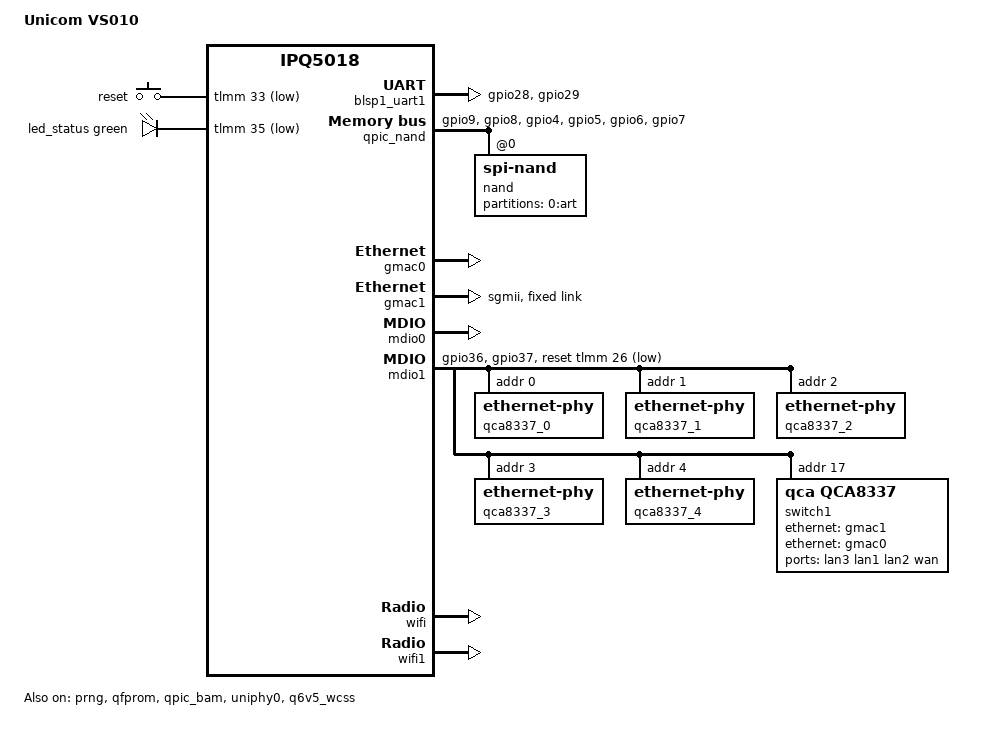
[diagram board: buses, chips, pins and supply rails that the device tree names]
// SPDX-License-Identifier: GPL-2.0-or-later OR MIT
/*
 * VS010 (Unicom) Device Tree Source
 * Rewritten for OpenWrt linux-6.18 (dwmac + qca8337 DSA model)
 * Based on cmcc_pz-l8 / ipq5018-pz-l8.dts reference, hardware-verified vs 实机:
 *   - 5G chip is QCN6122 (not QCN6102)
 *   - ART MAC base D8:3D:CC:94:61 / eth0@0x00, eth1@0x06
 *   - wifi1 bdf-addr 0x4d300000, no m3-dump-addr
 */

/dts-v1/;

#include "ipq5018.dtsi"
#include "ipq5018-ess.dtsi"
#include "ipq5018-qcn6122.dtsi"

#include <dt-bindings/gpio/gpio.h>
#include <dt-bindings/input/input.h>
#include <dt-bindings/leds/common.h>

/ {
	model = "Unicom VS010";
	compatible = "unicom,vs010", "qcom,ipq5018";

	aliases {
		serial0 = &blsp1_uart1;
		led-boot = &led_status;
		led-failsafe = &led_status;
		led-running = &led_status;
		led-upgrade = &led_status;
		label-mac-device = <&gmac0>;
	};

	chosen {
		bootargs-append = " root=/dev/ubiblock0_1 swiotlb=1 coherent_pool=2M";
		stdout-path = "serial0:115200n8";
	};

	keys {
		compatible = "gpio-keys";
		pinctrl-0 = <&button_pins>;
		pinctrl-names = "default";

		reset-button {
			label = "reset";
			gpios = <&tlmm 33 GPIO_ACTIVE_LOW>;
			linux,code = <KEY_RESTART>;
		};
	};

	leds {
		compatible = "gpio-leds";
		pinctrl-0 = <&led_pins>;
		pinctrl-names = "default";

		led_status: led-0 {
			gpios = <&tlmm 35 GPIO_ACTIVE_LOW>;
			color = <LED_COLOR_ID_GREEN>;
			function = LED_FUNCTION_STATUS;
			default-state = "off";
		};
	};
};

&sleep_clk {
	clock-frequency = <32000>;
};

&xo_board_clk {
	clock-div = <4>;
	clock-mult = <1>;
};

&blsp1_uart1 {
	status = "okay";

	pinctrl-0 = <&serial_0_pins>;
	pinctrl-names = "default";
};

&prng {
	status = "okay";
};

&qfprom {
	status = "okay";
};

&qpic_bam {
	status = "okay";
};

&qpic_nand {
	pinctrl-0 = <&qpic_pins>;
	pinctrl-names = "default";
	status = "okay";

	nand@0 {
		compatible = "spi-nand";
		reg = <0>;
		nand-ecc-engine = <&qpic_nand>;
		nand-bus-width = <8>;

		partitions {
			compatible = "qcom,smem-part";

			partition-art {
				label = "0:art";
				read-only;

				nvmem-layout {
					compatible = "fixed-layout";
					#address-cells = <1>;
					#size-cells = <1>;

					// VS010 MAC layout (实测 ART):
					// eth0 (LAN): D8:3D:CC:94:61:8B @ offset 0x00
					// eth1 (WAN): D8:3D:CC:94:61:8A @ offset 0x06
					macaddr_eth0: macaddr@0 {
						reg = <0x0 0x6>;
					};

					macaddr_eth1: macaddr@6 {
						reg = <0x6 0x6>;
					};
				};
			};
		};
	};
};

&uniphy0 {
	status = "okay";

	assigned-clocks = <&uniphy0 UNIPHY_CLK_REF>;
	assigned-clock-rates = <UNIPHY_REFCLK_25MHZ>;
};

// MAC0 -> GE Phy
&gmac0 {
	status = "okay";

	nvmem-cells = <&macaddr_eth0>;
	nvmem-cell-names = "mac-address";
};

// MAC1 -> SGMII
&gmac1 {
	status = "okay";

	phy-mode = "sgmii";

	nvmem-cells = <&macaddr_eth1>;
	nvmem-cell-names = "mac-address";

	fixed-link {
		speed = <1000>;
		full-duplex;
	};
};

&mdio0 {
	status = "okay";
};

// MAC0 -> GE Phy -> QCA8337 Phy4
&ge_phy {
	qcom,dac-preset-short-cable;
};

&mdio1 {
	status = "okay";

	pinctrl-0 = <&mdio1_pins>;
	pinctrl-names = "default";
	reset-gpios = <&tlmm 26 GPIO_ACTIVE_LOW>;

	// QCA8337 Phy0 -> LAN3
	qca8337_0: ethernet-phy@0 {
		reg = <0>;
	};

	// QCA8337 Phy1 -> LAN2
	qca8337_1: ethernet-phy@1 {
		reg = <1>;
	};

	// QCA8337 Phy2 -> LAN1
	qca8337_2: ethernet-phy@2 {
		reg = <2>;
	};

	// QCA8337 Phy3 -> WAN
	qca8337_3: ethernet-phy@3 {
		reg = <3>;
	};

	// QCA8337 Phy4 -> IPQ5018 GE Phy
	qca8337_4: ethernet-phy@4 {
		reg = <4>;
	};

	// QCA8337 switch
	switch1: ethernet-switch@17 {
		compatible = "qca,qca8337";
		reg = <17>;
		#address-cells = <1>;
		#size-cells = <0>;

		ports {
			#address-cells = <1>;
			#size-cells = <0>;

			port@0 {
				reg = <0>;
				phy-mode = "sgmii";
				ethernet = <&gmac1>;
				qca,sgmii-enable-pll;

				fixed-link {
					speed = <1000>;
					full-duplex;
				};
			};

			port@1 {
				reg = <1>;
				label = "lan3";
				phy-handle = <&qca8337_0>;
			};

			port@2 {
				reg = <2>;
				label = "lan1";
				phy-handle = <&qca8337_1>;
			};

			port@3 {
				reg = <3>;
				label = "lan2";
				phy-handle = <&qca8337_2>;
			};

			port@4 {
				reg = <4>;
				label = "wan";
				phy-handle = <&qca8337_3>;
			};

			port@5 {
				reg = <5>;
				phy-handle = <&qca8337_4>;
				phy-mode = "gmii";
				ethernet = <&gmac0>;
			};
		};
	};
};

&tlmm {
	button_pins: button-state {
		button-pins {
			pins = "gpio33";
			function = "gpio";
			drive-strength = <8>;
			bias-pull-up;
		};
	};

	led_pins: led-state {
		pins = "gpio35";
		function = "gpio";
		drive-strength = <8>;
		bias-pull-down;
	};

	mdio1_pins: mdio-state {
		mdc-pins {
			pins = "gpio36";
			function = "mdc";
			drive-strength = <8>;
			bias-pull-up;
		};

		mdio-pins {
			pins = "gpio37";
			function = "mdio";
			drive-strength = <8>;
			bias-pull-up;
		};
	};

	qpic_pins: qpic-state {
		clock-pins {
			pins = "gpio9";
			function = "qspi_clk";
			drive-strength = <8>;
			bias-disable;
		};

		cs-pins {
			pins = "gpio8";
			function = "qspi_cs";
			drive-strength = <8>;
			bias-disable;
		};

		data-pins {
			pins = "gpio4", "gpio5", "gpio6", "gpio7";
			function = "qspi_data";
			drive-strength = <8>;
			bias-disable;
		};
	};

	serial_0_pins: uart0-state {
		pins = "gpio28", "gpio29";
		function = "blsp0_uart1";
		drive-strength = <8>;
		bias-disable;
	};

	switch_reset_pins: switch-reset-state {
		pins = "gpio26";
		function = "gpio";
		drive-strength = <8>;
		bias-pull-down;
	};
};

&q6v5_wcss {
	status = "okay";
};

&wifi {
	// IPQ5018 2.4G
	qcom,rproc = <&q6_wcss_pd1>;
	qcom,ath11k-calibration-variant = "Unicom-VS010";
	qcom,ath11k-fw-memory-mode = <1>;
	qcom,bdf-addr = <0x4c400000>;

	ieee80211-freq-limit = <2400000 2483000>;

	status = "okay";
};

&wifi1 {
	// QCN6122 5G (Wi-Fi 6E capable)
	qcom,rproc = <&q6_wcss_pd2>;
	qcom,userpd-subsys-name = "q6v5_wcss_userpd2";
	qcom,ath11k-calibration-variant = "Unicom-VS010";
	qcom,ath11k-fw-memory-mode = <1>;
	qcom,bdf-addr = <0x4d300000>;   // 实测 q6_qcn6122_data1@4D300000

	ieee80211-freq-limit = <5150000 5730000>;

	status = "okay";
};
